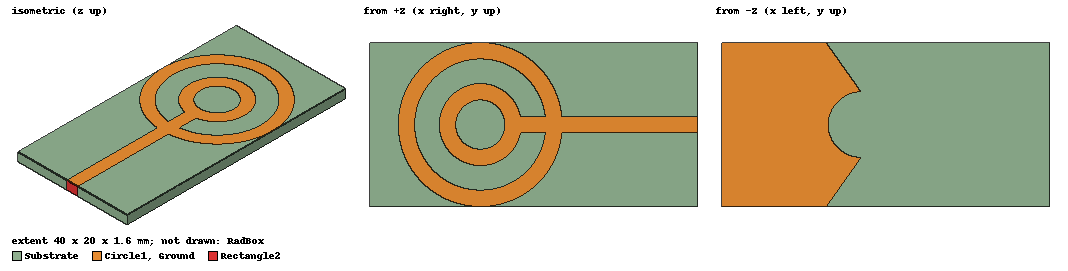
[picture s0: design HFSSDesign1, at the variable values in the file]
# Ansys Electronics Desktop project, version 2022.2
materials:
  vacuum: permittivity=1
  FR4_epoxy: permittivity=4.4 dielectric_loss_tangent=0.02
  air: permittivity=1.0006 permeability=1.0000004

design HFSSDesign1 (HFSS, DrivenModal, model units mm)
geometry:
  Substrate [FR4_epoxy] = box(corner=(-20mm, -10mm, -0.8mm), size=(40mm, 20mm, 1.6mm))
  Circle1 = circle(normal=Z, centre=(-6.5mm, 0mm, 0.8mm), radius=10mm)
  Circle2 = circle(normal=Z, centre=(-6.5mm, 0mm, 0.8mm), radius=8mm)
  Circle1.subtract(Circle2)
  Circle3 = circle(normal=Z, centre=(-6.5mm, 0mm, 0.8mm), radius=5mm)
  Circle4 = circle(normal=Z, centre=(-6.5mm, 0mm, 0.8mm), radius=3mm)
  Circle3.subtract(Circle4)
  Rectangle1 = rectangle(corner=(-3.5mm, -1mm, 0.8mm), x_size=23.5mm, y_size=2mm)
  Circle3.unite(Rectangle1)
  Circle1.unite(Circle3)
  Ground = rectangle(corner=(3mm, -10mm, -0.8mm), x_size=17mm, y_size=20mm)
  Circle5 = circle(normal=Z, centre=(3mm, 0mm, -0.8mm), radius=4mm)
  Ground.subtract(Circle5)
  Polyline1 = polyline(z=-0.8mm, xy in mm: (3, 4) (7.25, 10) (3, 10) (3, 4), closed, covered)
  Polyline2 = polyline(z=-0.8mm, xy in mm: (3, -4) (7.25, -10) (3, -10) (3, -4), closed, covered)
  Ground.subtract(Polyline1, Polyline2)
  Rectangle2 = rectangle(corner=(20mm, -1mm, -0.8mm), y_size=2mm, z_size=1.6mm)
  RadBox [air] = box(corner=(-37.5mm, -27.5mm, -17.5mm), size=(75mm, 55mm, 35mm))
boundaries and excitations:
  PerfE1: Perfect E Objects=[Circle1, Ground]
  Rad1: Radiation Objects=RadBox
  1: Lumped Port Objects=Rectangle2 Modes{Mode1{IntLine{(20, 0, -0.8) -> (20, 0, 0.8)} CharImp=Zpi RenormImp=50ohm}} Impedance=50ohm
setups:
  Setup1: HfssDriven MultipleAdaptiveFreqsSetup{Low=2GHz High=9GHz} MaxDeltaS=0.02 MaximumPasses=6 MinimumPasses=1 MinimumConvergedPasses=1 PercentRefinement=30 BasisOrder=1 PortAccuracy=2 DrivenSolverType="Direct Solver"
    sweep Sweep: 3GHz to 10GHz, 10 points; Type=Fast SaveFields
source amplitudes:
  1:1: 1W 0deg
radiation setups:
  Infinite Sphere1: Infinite Sphere Theta=0deg..180deg step 2deg Phi=-180deg..180deg step 2deg
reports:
  S Parameter Plot 1: dB(S(1,1)) vs Freq on Setup1 : Sweep
  S Parameter Plot 2: dB(S(1,1)) vs Freq on Setup1 : Sweep
